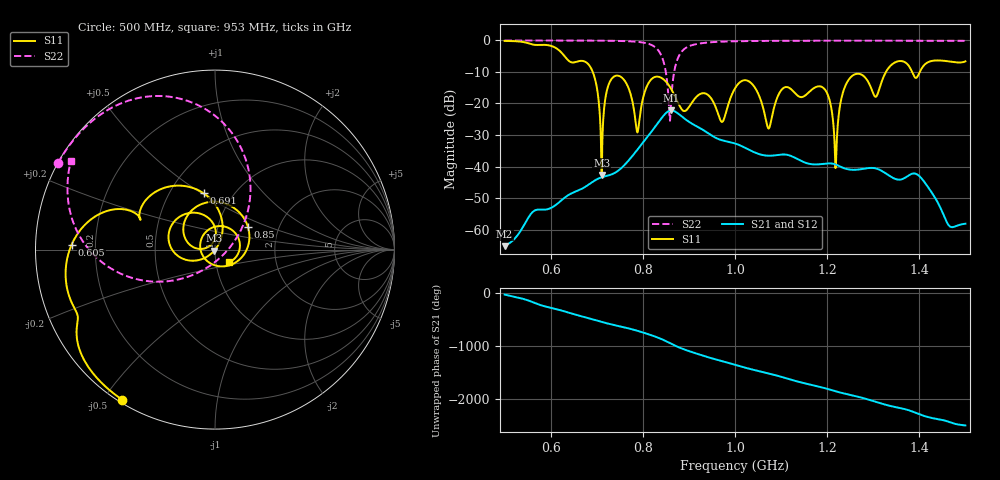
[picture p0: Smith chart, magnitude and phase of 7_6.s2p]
! TOUCHSTONE file generated by CST MICROWAVE STUDIO
! Date and time: Tue Nov 17 07:10:43 2020
! Project name: Scenario_1_Planar_Body_Tissue_Out_of_Line.cst
! Header version: 2018
! Port assignment regex: !\s*Touchstone port\s*([0-9]+)\s*=\s*(CST MWS port|CST DS port)\s*([0-9]+|Zmin|Zmax)\s*\(\"(.*)\"\)(\s*mode\s*([0-9]+))?.*
! Touchstone port assignment:
! Touchstone port 1 = CST MWS port 1 ("")
! Touchstone port 2 = CST MWS port 2 ("")
# GHz S DB R 50
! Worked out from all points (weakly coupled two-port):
!   1003 points, 500 MHz to 1.5 GHz, reference 50 ohm
!   highest |S21| = -22.21 dB at 862 MHz (marker M1); lowest = -65.2 dB at 500 MHz (marker M2)
!   lowest |S11| = -42.6 dB at 711 MHz (marker M3), VSWR 1.01, Z = 49.6 - j0.59 ohm
!   |S11| at or under -10 dB: 691.3 MHz to 1.328 GHz (636.3 MHz wide, 63 % of centre); 1.384 GHz to 1.401 GHz (16.76 MHz wide, 1.2 % of centre)
!   |S22| runs from -25.5 to 0.0 dB; largest |S21 - S12| = 3.2e-06
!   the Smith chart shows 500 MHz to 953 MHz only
!   S11 on the Smith chart (normalised r, x): 500 MHz: 0.01, -0.56; 605 MHz: 0.11, +0.02; 691 MHz: 0.73, +0.51; 850 MHz: 1.39, +0.37; 953 MHz: 1.16, -0.17
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0.5  -0.15 -121.7  -65.25 -25.2  -65.25 -25.2  -0.01 151.2
0.605  -1.95 178.0  -52.79 74.6  -52.79 74.6  -0.02 143.7
0.667  -6.47 146.6  -47.11 -74.5  -47.11 -74.5  -0.04 138.4
0.691  -9.88 101.4  -44.85 -130.7  -44.85 -130.7  -0.06 135.9
0.711  -42.64 -126.2  -43.38 178.6  -43.38 178.6  -0.08 133.5
0.735  -11.74 171.2  -42.32 125.2  -42.31 125.2  -0.12 130.1
0.788  -29.17 130.8  -34.68 12.1  -34.68 12.1  -0.44 117.8
0.834  -11.52 84.5  -25.92 -121.4  -25.92 -121.4  -3.23 84.7
0.85  -13.04 34.4  -23.06 177.6  -23.06 177.6  -10.13 52.5
0.862  -15.53 -6.7  -22.21 125.3  -22.21 125.3  -17.88 -119.2
0.884  -21.78 -106.2  -24.05 39.4  -24.05 39.4  -3.59 -176.1
0.953  -19.53 -41.9  -30.47 -155.3  -30.47 -155.3  -0.52 148.5
0.973  -25.78 -165.6  -31.72 157.9  -31.72 157.9  -0.37 144.5
1  -15.20 58.3  -32.68 91.1  -32.68 91.1  -0.27 140.4
1.073  -27.94 143.8  -36.57 -72.0  -36.57 -72.0  -0.14 132.2
1.104  -15.21 -21.8  -36.16 -144.4  -36.16 -144.4  -0.12 129.4
1.167  -15.58 81.3  -39.27 71.1  -39.27 71.1  -0.10 124.3
1.2  -16.77 -6.0  -39.03 -1.0  -39.03 -1.0  -0.09 121.7
1.218  -40.48 10.8  -39.32 -46.9  -39.32 -47.0  -0.09 120.3
1.247  -12.40 55.8  -40.91 -110.2  -40.91 -110.2  -0.09 118.2
1.334  -8.60 26.5  -42.84 41.9  -42.84 42.0  -0.09 111.6
1.5  -6.64 -42.3  -58.13 27.9  -58.13 27.9  -0.13 98.0
